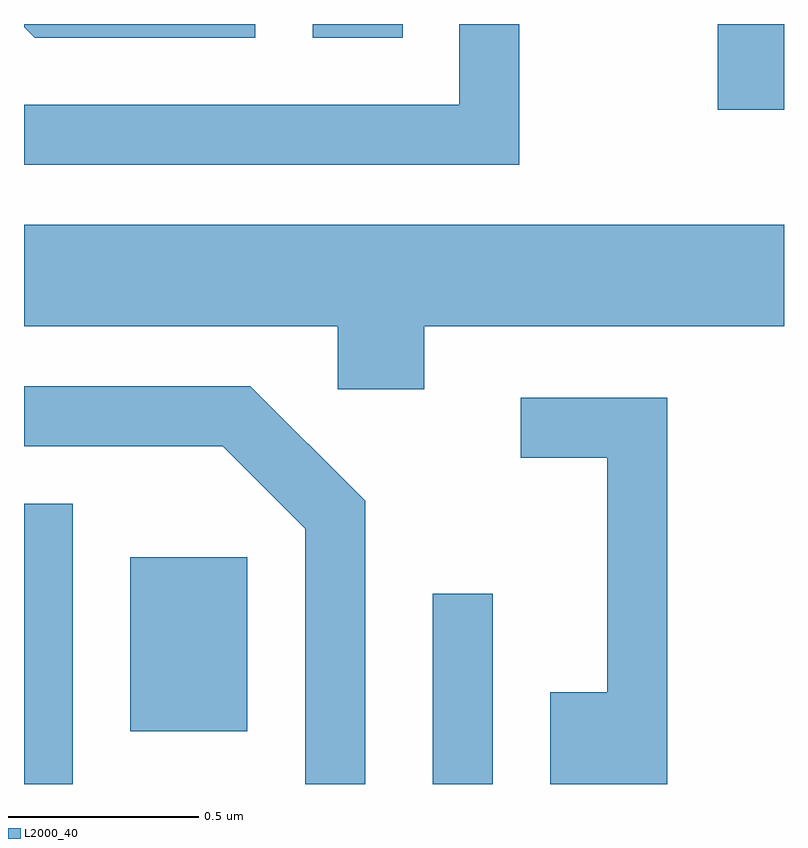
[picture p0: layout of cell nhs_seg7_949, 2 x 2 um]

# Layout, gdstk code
import gdstk
lib = gdstk.Library(unit=1e-6, precision=1e-09)
def R(c, l, rs):  # rectangles x0, y0, x1, y1
    for r in rs: c.add(gdstk.rectangle(r[:2], r[2:], *l))
def P(c, l, *ps):  # polygons
    for p in ps: c.add(gdstk.Polygon(p, *l))
L2000_40 = (2000, 40)

nhs_seg7_949 = lib.new_cell('nhs_seg7_949')
R(nhs_seg7_949, L2000_40, [(191.611,1795.252,191.739,1795.989), (192.686,1795.252,192.844,1795.753), (191.891,1795.391,192.199,1795.849), (193.436,1797.026,193.611,1797.252), (192.371,1797.216,192.608,1797.252)])
P(nhs_seg7_949, L2000_40, [(192.914,1797.252),(192.756,1797.252),(192.756,1797.039),(191.611,1797.039),(191.611,1796.881),(192.914,1796.881)],
  [(192.219,1797.252),(191.611,1797.252),(191.611,1797.244),(191.639,1797.216),(192.219,1797.216)],
  [(192.664,1796.456),(193.611,1796.456),(193.611,1796.724),(191.611,1796.724),(191.611,1796.456),(192.436,1796.456),(192.436,1796.291),(192.664,1796.291)],
  [(192.509,1795.997),(192.207,1796.299),(191.611,1796.299),(191.611,1796.141),(192.134,1796.141),(192.351,1795.924),(192.351,1795.252),(192.509,1795.252)],
  [(193.304,1796.269),(192.918,1796.269),(192.918,1796.111),(193.146,1796.111),(193.146,1795.494),(192.996,1795.494),(192.996,1795.252),(193.304,1795.252)])

lib.write_gds('nhs_seg7_949.gds')
